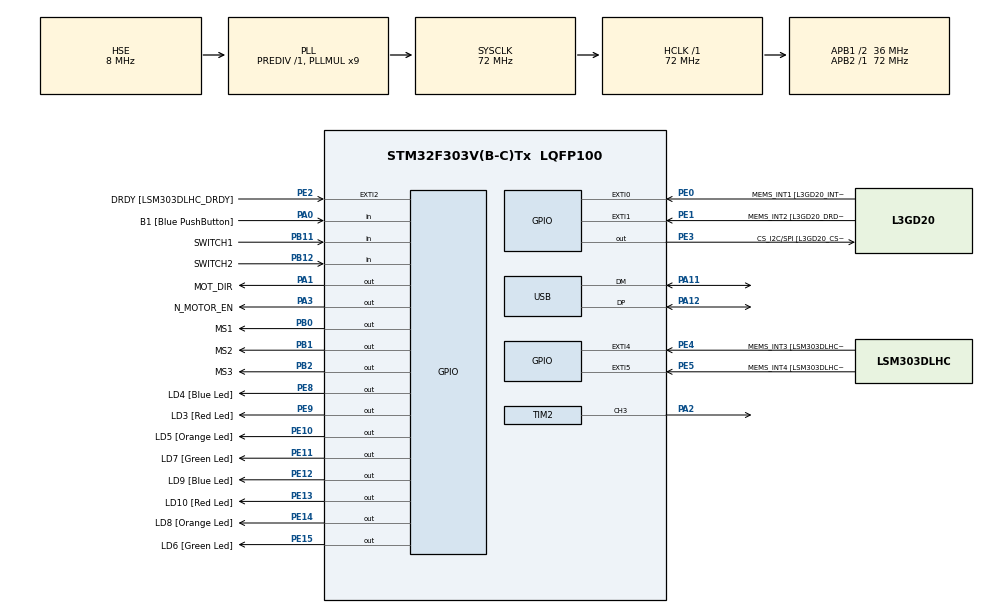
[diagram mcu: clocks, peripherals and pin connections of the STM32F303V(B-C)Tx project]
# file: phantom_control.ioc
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Mcu.Family=STM32F3
Mcu.Name=STM32F303V(B-C)Tx
Mcu.Package=LQFP100
NVIC.PriorityGroup=NVIC_PRIORITYGROUP_4
NVIC.TIM6_DAC_IRQn=true\:15\:0\:false\:false\:true\:false\:true\:true
NVIC.TimeBase=TIM6_DAC_IRQn
NVIC.TimeBaseIP=TIM6
NVIC.USB_LP_CAN_RX0_IRQn=true\:0\:0\:false\:false\:true\:false\:true\:true
PA0.GPIO_Label=B1 [Blue PushButton]
PA0.GPIO_Mode=GPIO_MODE_INPUT
PA0.GPIO_PuPd=GPIO_NOPULL
PA0.Signal=GPIO_Input
PA1.GPIO_Label=MOT_DIR
PA1.GPIO_ModeDefaultOutputPP=GPIO_MODE_OUTPUT_PP
PA1.Signal=GPIO_Output
PA11.Mode=Device
PA11.Signal=USB_DM
PA12.Mode=Device
PA12.Signal=USB_DP
PA13.GPIO_Label=SWDIO
PA13.Mode=Serial_Wire
PA13.Signal=SYS_JTMS-SWDIO
PA14.GPIO_Label=SWCLK
PA14.Mode=Serial_Wire
PA14.Signal=SYS_JTCK-SWCLK
PA2.Signal=S_TIM2_CH3
PA3.GPIO_Label=N_MOTOR_EN
PA3.Signal=GPIO_Output
PA5.GPIO_Label=SPI1_SCK [L3GD20_SCL/SPC]
PA5.Signal=SPI1_SCK
PA6.GPIO_Label=SPI1_MISO [L3GD20_SA0/SDO]
PA6.Signal=SPI1_MISO
PA7.GPIO_Label=SPI1_MISO [L3GD20_SDA/SDI/SDO]
PA7.Signal=SPI1_MOSI
PB0.GPIO_Label=MS1
PB0.Signal=GPIO_Output
PB1.GPIO_Label=MS2
PB1.Signal=GPIO_Output
PB11.GPIO_Label=SWITCH1
PB11.GPIO_Mode=GPIO_MODE_INPUT
PB11.GPIO_PuPd=GPIO_PULLUP
PB11.Signal=GPIO_Input
PB12.GPIO_Label=SWITCH2
PB12.GPIO_Mode=GPIO_MODE_INPUT
PB12.GPIO_PuPd=GPIO_PULLUP
PB12.Signal=GPIO_Input
PB2.GPIO_Label=MS3
PB2.Signal=GPIO_Output
PB3.GPIO_Label=SWO
PB3.Signal=SYS_JTDO-TRACESWO
PB6.GPIO_Label=I2C1_SCL [LSM303DLHC_SCL]
PB6.GPIO_Pu=GPIO_PULLUP
PB6.Signal=I2C1_SCL
PB7.GPIO_Label=I2C1_SDA [LSM303DLHC_SDA]
PB7.GPIO_Pu=GPIO_PULLUP
PB7.Signal=I2C1_SDA
PC14-OSC32_IN.GPIO_Label=OSC32_IN
PC14-OSC32_IN.Signal=RCC_OSC32_IN
PC15-OSC32_OUT.GPIO_Label=OSC32_OUT
PC15-OSC32_OUT.Signal=RCC_OSC32_OUT
PE0.GPIO_Label=MEMS_INT1 [L3GD20_INT1]
PE0.GPIO_ModeDefaultEXTI=GPIO_MODE_EVT_RISING
PE0.Signal=GPXTI0
PE1.GPIO_Label=MEMS_INT2 [L3GD20_DRDY/INT2]
PE1.GPIO_ModeDefaultEXTI=GPIO_MODE_EVT_RISING
PE1.Signal=GPXTI1
PE10.GPIO_Label=LD5 [Orange Led]
PE10.Signal=GPIO_Output
PE11.GPIO_Label=LD7 [Green Led]
PE11.Signal=GPIO_Output
PE12.GPIO_Label=LD9 [Blue Led]
PE12.Signal=GPIO_Output
PE13.GPIO_Label=LD10 [Red Led]
PE13.Signal=GPIO_Output
PE14.GPIO_Label=LD8 [Orange Led]
PE14.Signal=GPIO_Output
PE15.GPIO_Label=LD6 [Green Led]
PE15.Signal=GPIO_Output
PE2.GPIO_Label=DRDY [LSM303DLHC_DRDY]
PE2.GPIO_ModeDefaultEXTI=GPIO_MODE_EVT_RISING
PE2.Signal=GPXTI2
PE3.GPIO_Label=CS_I2C/SPI [L3GD20_CS_I2C/SPI]
PE3.Signal=GPIO_Output
PE4.GPIO_Label=MEMS_INT3 [LSM303DLHC_INT1]
PE4.GPIO_ModeDefaultEXTI=GPIO_MODE_EVT_RISING
PE4.Signal=GPXTI4
PE5.GPIO_Label=MEMS_INT4 [LSM303DLHC_INT2]
PE5.GPIO_ModeDefaultEXTI=GPIO_MODE_EVT_RISING
PE5.Signal=GPXTI5
PE8.GPIO_Label=LD4 [Blue Led]
PE8.GPIO_ModeDefaultOutputPP=GPIO_MODE_OUTPUT_PP
PE8.Signal=GPIO_Output
PE9.GPIO_Label=LD3 [Red Led]
PE9.Signal=GPIO_Output
PF0-OSC_IN.GPIO_Label=OSC_IN
PF0-OSC_IN.Mode=HSE-External-Oscillator
PF0-OSC_IN.Signal=RCC_OSC_IN
PF1-OSC_OUT.GPIO_Label=OSC_OUT
PF1-OSC_OUT.Mode=HSE-External-Oscillator
PF1-OSC_OUT.Signal=RCC_OSC_OUT
ProjectManager.HeapSize=0x800
ProjectManager.StackSize=0x800
ProjectManager.TargetToolchain=CMake
RCC.AHBFreq_Value=72000000
RCC.APB1CLKDivider=RCC_HCLK_DIV2
RCC.APB1Freq_Value=36000000
RCC.APB1TimFreq_Value=72000000
RCC.APB2Freq_Value=72000000
RCC.APB2TimFreq_Value=72000000
RCC.CortexFreq_Value=72000000
RCC.HCLKFreq_Value=72000000
RCC.HSE_VALUE=8000000
RCC.HSI_VALUE=8000000
RCC.LSE_VALUE=32768
RCC.PLLMUL=RCC_PLL_MUL9
RCC.PRESCALERUSB=RCC_USBCLKSOURCE_PLL_DIV1_5
RCC.SYSCLKFreq_VALUE=72000000
RCC.SYSCLKSourceVirtual=RCC_SYSCLKSOURCE_PLLCLK
RCC.USBFreq_Value=48000000
SH.S_TIM2_CH3.0=TIM2_CH3,Output Compare3 CH3
TIM2.AutoReloadPreload=TIM_AUTORELOAD_PRELOAD_ENABLE
TIM2.Channel-Output\ Compare3\ CH3=TIM_CHANNEL_3
TIM2.OCMode_3=TIM_OCMODE_TOGGLE
TIM2.Period=1200
TIM2.Prescaler=72-1
USB_DEVICE.CLASS_NAME_FS=CDC
USB_DEVICE.VirtualMode=Cdc
USB_DEVICE.VirtualModeFS=Cdc_FS
VP_SYS_VS_tim6.Mode=TIM6
VP_TIM2_VS_ClockSourceINT.Mode=Internal
VP_USB_DEVICE_VS_USB_DEVICE_CDC_FS.Mode=CDC_FS
board=STM32F3DISCOVERY

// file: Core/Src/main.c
/* USER CODE BEGIN Header */
/**
 ******************************************************************************
 * @file           : main.c
 * @brief          : Main program body
 ******************************************************************************
 * @attention
 *
 * Copyright (c) 2023 STMicroelectronics.
 * All rights reserved.
 *
 * This software is licensed under terms that can be found in the LICENSE file
 * in the root directory of this software component.
 * If no LICENSE file comes with this software, it is provided AS-IS.
 *
 ******************************************************************************
 */
/* USER CODE END Header */
#include "main.h"
#include "usb_device.h"

/* USER CODE BEGIN Includes */
#include "usbd_cdc_if.h"
#include "motor.h"
/* USER CODE END Includes */

/* USER CODE BEGIN PD */
#ifdef CMSIS_OS_H_
#define SLEEP(milisec) osDelay(milisec)
#else
#define SLEEP(milisec) HAL_Delay(milisec)
#endif
/* USER CODE END PD */

TIM_HandleTypeDef htim2;

void SystemClock_Config(void);
static void MX_GPIO_Init(void);
static void MX_TIM2_Init(void);

int main(void)
{

  /* MCU Configuration--------------------------------------------------------*/

  /* Reset of all peripherals, Initializes the Flash interface and the Systick. */
  HAL_Init();

  /* Configure the system clock */
  SystemClock_Config();

  /* Initialize all configured peripherals */
  MX_GPIO_Init();
  MX_TIM2_Init();
  MX_USB_DEVICE_Init();
  /* USER CODE BEGIN 2 */

  // HAL_TIM_Base_Start(&htim2);
  uint32_t speed_rx;
  motor_init();
  HAL_TIM_OC_Start(&htim2, CHANNEL_STEP);

  /* USER CODE END 2 */

  /* Infinite loop */
  while (1)
  {

    /* USER CODE BEGIN 3 */
    motor_fill_when_empty();

    if (USBD_has_data_arrived())
    {
      USBD_scan("%u", &speed_rx);
      motor_update_pace_state(speed_rx);
    }

    SLEEP(10);
  }
  /* USER CODE END 3 */
}

void SystemClock_Config(void)
{
  RCC_OscInitTypeDef RCC_OscInitStruct = {0};
  RCC_ClkInitTypeDef RCC_ClkInitStruct = {0};
  RCC_PeriphCLKInitTypeDef PeriphClkInit = {0};

  /** Initializes the RCC Oscillators according to the specified parameters
   * in the RCC_OscInitTypeDef structure.
   */
  RCC_OscInitStruct.OscillatorType = RCC_OSCILLATORTYPE_HSE;
  RCC_OscInitStruct.HSEState = RCC_HSE_ON;
  RCC_OscInitStruct.HSEPredivValue = RCC_HSE_PREDIV_DIV1;
  RCC_OscInitStruct.HSIState = RCC_HSI_ON;
  RCC_OscInitStruct.PLL.PLLState = RCC_PLL_ON;
  RCC_OscInitStruct.PLL.PLLSource = RCC_PLLSOURCE_HSE;
  RCC_OscInitStruct.PLL.PLLMUL = RCC_PLL_MUL9;
  if (HAL_RCC_OscConfig(&RCC_OscInitStruct) != HAL_OK)
  {
    Error_Handler();
  }

  /** Initializes the CPU, AHB and APB buses clocks
   */
  RCC_ClkInitStruct.ClockType = RCC_CLOCKTYPE_HCLK | RCC_CLOCKTYPE_SYSCLK | RCC_CLOCKTYPE_PCLK1 | RCC_CLOCKTYPE_PCLK2;
  RCC_ClkInitStruct.SYSCLKSource = RCC_SYSCLKSOURCE_PLLCLK;
  RCC_ClkInitStruct.AHBCLKDivider = RCC_SYSCLK_DIV1;
  RCC_ClkInitStruct.APB1CLKDivider = RCC_HCLK_DIV2;
  RCC_ClkInitStruct.APB2CLKDivider = RCC_HCLK_DIV1;

  if (HAL_RCC_ClockConfig(&RCC_ClkInitStruct, FLASH_LATENCY_2) != HAL_OK)
  {
    Error_Handler();
  }
  PeriphClkInit.PeriphClockSelection = RCC_PERIPHCLK_USB;
  PeriphClkInit.USBClockSelection = RCC_USBCLKSOURCE_PLL_DIV1_5;
  if (HAL_RCCEx_PeriphCLKConfig(&PeriphClkInit) != HAL_OK)
  {
    Error_Handler();
  }
}

static void MX_TIM2_Init(void)
{

  TIM_ClockConfigTypeDef sClockSourceConfig = {0};
  TIM_MasterConfigTypeDef sMasterConfig = {0};
  TIM_OC_InitTypeDef sConfigOC = {0};

  htim2.Instance = TIM2;
  htim2.Init.Prescaler = 72 - 1;
  htim2.Init.CounterMode = TIM_COUNTERMODE_UP;
  htim2.Init.Period = 1200;
  htim2.Init.ClockDivision = TIM_CLOCKDIVISION_DIV1;
  htim2.Init.AutoReloadPreload = TIM_AUTORELOAD_PRELOAD_ENABLE;
  if (HAL_TIM_Base_Init(&htim2) != HAL_OK)
  {
    Error_Handler();
  }
  sClockSourceConfig.ClockSource = TIM_CLOCKSOURCE_INTERNAL;
  if (HAL_TIM_ConfigClockSource(&htim2, &sClockSourceConfig) != HAL_OK)
  {
    Error_Handler();
  }
  if (HAL_TIM_OC_Init(&htim2) != HAL_OK)
  {
    Error_Handler();
  }
  sMasterConfig.MasterOutputTrigger = TIM_TRGO_RESET;
  sMasterConfig.MasterSlaveMode = TIM_MASTERSLAVEMODE_DISABLE;
  if (HAL_TIMEx_MasterConfigSynchronization(&htim2, &sMasterConfig) != HAL_OK)
  {
    Error_Handler();
  }
  sConfigOC.OCMode = TIM_OCMODE_TOGGLE;
  sConfigOC.Pulse = 0;
  sConfigOC.OCPolarity = TIM_OCPOLARITY_HIGH;
  sConfigOC.OCFastMode = TIM_OCFAST_DISABLE;
  if (HAL_TIM_OC_ConfigChannel(&htim2, &sConfigOC, TIM_CHANNEL_3) != HAL_OK)
  {
    Error_Handler();
  }
  HAL_TIM_MspPostInit(&htim2);
}

static void MX_GPIO_Init(void)
{
  GPIO_InitTypeDef GPIO_InitStruct = {0};

  /* GPIO Ports Clock Enable */
  __HAL_RCC_GPIOE_CLK_ENABLE();
  __HAL_RCC_GPIOC_CLK_ENABLE();
  __HAL_RCC_GPIOF_CLK_ENABLE();
  __HAL_RCC_GPIOA_CLK_ENABLE();
  __HAL_RCC_GPIOB_CLK_ENABLE();

  /*Configure GPIO pin Output Level */
  HAL_GPIO_WritePin(GPIOE, CS_I2C_SPI_Pin | LD4_Pin | LD3_Pin | LD5_Pin | LD7_Pin | LD9_Pin | LD10_Pin | LD8_Pin | LD6_Pin, GPIO_PIN_RESET);

  /*Configure GPIO pin Output Level */
  HAL_GPIO_WritePin(GPIOA, MOT_DIR_Pin | N_MOTOR_EN_Pin, GPIO_PIN_RESET);

  /*Configure GPIO pin Output Level */
  HAL_GPIO_WritePin(GPIOB, MS1_Pin | MS2_Pin | MS3_Pin, GPIO_PIN_RESET);

  /*Configure GPIO pins : DRDY_Pin MEMS_INT3_Pin MEMS_INT4_Pin MEMS_INT1_Pin
                           MEMS_INT2_Pin */
  GPIO_InitStruct.Pin = DRDY_Pin | MEMS_INT3_Pin | MEMS_INT4_Pin | MEMS_INT1_Pin | MEMS_INT2_Pin;
  GPIO_InitStruct.Mode = GPIO_MODE_EVT_RISING;
  GPIO_InitStruct.Pull = GPIO_NOPULL;
  HAL_GPIO_Init(GPIOE, &GPIO_InitStruct);

  /*Configure GPIO pins : CS_I2C_SPI_Pin LD4_Pin LD3_Pin LD5_Pin
                           LD7_Pin LD9_Pin LD10_Pin LD8_Pin
                           LD6_Pin */
  GPIO_InitStruct.Pin = CS_I2C_SPI_Pin | LD4_Pin | LD3_Pin | LD5_Pin | LD7_Pin | LD9_Pin | LD10_Pin | LD8_Pin | LD6_Pin;
  GPIO_InitStruct.Mode = GPIO_MODE_OUTPUT_PP;
  GPIO_InitStruct.Pull = GPIO_NOPULL;
  GPIO_InitStruct.Speed = GPIO_SPEED_FREQ_LOW;
  HAL_GPIO_Init(GPIOE, &GPIO_InitStruct);

  /*Configure GPIO pin : B1_Pin */
  GPIO_InitStruct.Pin = B1_Pin;
  GPIO_InitStruct.Mode = GPIO_MODE_INPUT;
  GPIO_InitStruct.Pull = GPIO_NOPULL;
  HAL_GPIO_Init(B1_GPIO_Port, &GPIO_InitStruct);

  /*Configure GPIO pins : MOT_DIR_Pin N_MOTOR_EN_Pin */
  GPIO_InitStruct.Pin = MOT_DIR_Pin | N_MOTOR_EN_Pin;
  GPIO_InitStruct.Mode = GPIO_MODE_OUTPUT_PP;
  GPIO_InitStruct.Pull = GPIO_NOPULL;
  GPIO_InitStruct.Speed = GPIO_SPEED_FREQ_LOW;
  HAL_GPIO_Init(GPIOA, &GPIO_InitStruct);

  /*Configure GPIO pins : SPI1_SCK_Pin SPI1_MISO_Pin SPI1_MISOA7_Pin */
  GPIO_InitStruct.Pin = SPI1_SCK_Pin | SPI1_MISO_Pin | SPI1_MISOA7_Pin;
  GPIO_InitStruct.Mode = GPIO_MODE_AF_PP;
  GPIO_InitStruct.Pull = GPIO_NOPULL;
  GPIO_InitStruct.Speed = GPIO_SPEED_FREQ_HIGH;
  GPIO_InitStruct.Alternate = GPIO_AF5_SPI1;
  HAL_GPIO_Init(GPIOA, &GPIO_InitStruct);

  /*Configure GPIO pins : MS1_Pin MS2_Pin MS3_Pin */
  GPIO_InitStruct.Pin = MS1_Pin | MS2_Pin | MS3_Pin;
  GPIO_InitStruct.Mode = GPIO_MODE_OUTPUT_PP;
  GPIO_InitStruct.Pull = GPIO_NOPULL;
  GPIO_InitStruct.Speed = GPIO_SPEED_FREQ_LOW;
  HAL_GPIO_Init(GPIOB, &GPIO_InitStruct);

  /*Configure GPIO pins : SWITCH1_Pin SWITCH2_Pin */
  GPIO_InitStruct.Pin = SWITCH1_Pin | SWITCH2_Pin;
  GPIO_InitStruct.Mode = GPIO_MODE_INPUT;
  GPIO_InitStruct.Pull = GPIO_PULLUP;
  HAL_GPIO_Init(GPIOB, &GPIO_InitStruct);

  /*Configure GPIO pins : I2C1_SCL_Pin I2C1_SDA_Pin */
  GPIO_InitStruct.Pin = I2C1_SCL_Pin | I2C1_SDA_Pin;
  GPIO_InitStruct.Mode = GPIO_MODE_AF_OD;
  GPIO_InitStruct.Pull = GPIO_PULLUP;
  GPIO_InitStruct.Speed = GPIO_SPEED_FREQ_HIGH;
  GPIO_InitStruct.Alternate = GPIO_AF4_I2C1;
  HAL_GPIO_Init(GPIOB, &GPIO_InitStruct);
}

void HAL_TIM_PeriodElapsedCallback(TIM_HandleTypeDef *htim)
{
  if (htim->Instance == TIM6)
  {
    HAL_IncTick();
  }
}

void Error_Handler(void)
{
  __disable_irq();
  while (1)
  {
  }
}
